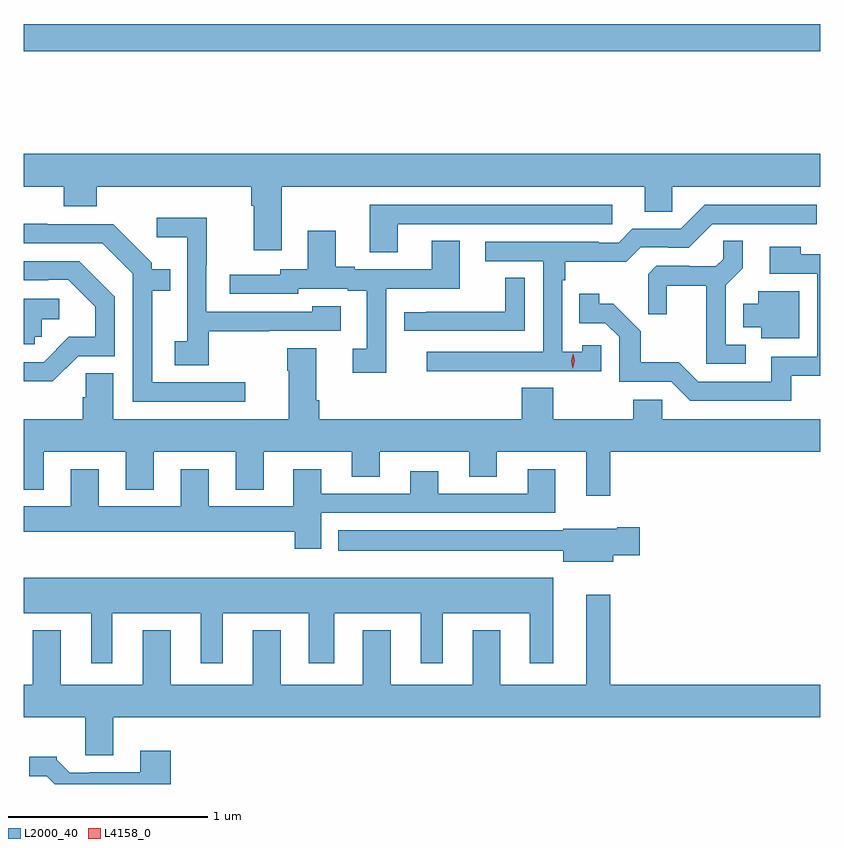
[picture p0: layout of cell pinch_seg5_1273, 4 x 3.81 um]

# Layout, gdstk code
import gdstk
lib = gdstk.Library(unit=1e-6, precision=1e-09)
def R(c, l, rs):  # rectangles x0, y0, x1, y1
    for r in rs: c.add(gdstk.rectangle(r[:2], r[2:], *l))
def P(c, l, *ps):  # polygons
    for p in ps: c.add(gdstk.Polygon(p, *l))
L2000_40 = (2000, 40)
L4158_0 = (4158, 0)

pinch_seg5_1273 = lib.new_cell('pinch_seg5_1273')
R(pinch_seg5_1273, L2000_40, [(395.845,861.436,399.845,861.572)])
P(pinch_seg5_1273, L2000_40, [(397.141,860.756),(398.963,860.756),(398.963,860.629),(399.102,860.629),(399.102,860.756),(399.845,860.756),(399.845,860.92),(395.845,860.92),(395.845,860.756),(396.047,860.756),(396.047,860.657),(396.212,860.657),(396.212,860.756),(396.989,860.756),(396.989,860.66),(397.001,860.66),(397.001,860.436),(397.141,860.436)],
  [(398.261,859.83),(398.745,859.83),(398.745,859.959),(398.649,859.959),(398.649,859.927),(398.55,859.927),(398.55,860.285),(398.563,860.285),(398.563,860.378),(398.87,860.378),(398.943,860.451),(399.082,860.451),(399.082,860.448),(399.183,860.448),(399.303,860.568),(399.826,860.568),(399.826,860.664),(399.264,860.664),(399.144,860.544),(398.901,860.544),(398.832,860.475),(398.732,860.475),(398.732,860.478),(398.163,860.478),(398.163,860.382),(398.454,860.382),(398.454,859.926),(397.869,859.926),(397.869,859.828),(398.261,859.828)],
  [(397.723,860.568),(398.8,860.568),(398.8,860.664),(397.583,860.664),(397.583,860.425),(397.723,860.425)],
  [(396.775,860.029),(397.079,860.029),(397.079,860.031),(397.438,860.031),(397.438,860.155),(397.293,860.155),(397.293,860.127),(396.762,860.127),(396.762,860.36),(396.765,860.36),(396.765,860.599),(396.513,860.599),(396.513,860.501),(396.666,860.501),(396.666,859.98),(396.603,859.98),(396.603,859.858),(396.775,859.858)],
  [(396.958,859.773),(396.49,859.773),(396.49,860.232),(396.581,860.232),(396.581,860.341),(396.489,860.341),(396.489,860.373),(396.294,860.568),(395.963,860.568),(395.963,860.57),(395.845,860.57),(395.845,860.472),(396.24,860.472),(396.393,860.319),(396.393,859.677),(396.958,859.677)],
  [(397.665,860.244),(398.035,860.244),(398.035,860.483),(397.895,860.483),(397.895,860.34),(397.507,860.34),(397.507,860.353),(397.411,860.353),(397.411,860.533),(397.271,860.533),(397.271,860.34),(397.134,860.34),(397.134,860.313),(396.879,860.313),(396.879,860.217),(397.224,860.217),(397.224,860.244),(397.472,860.244),(397.472,860.232),(397.568,860.232),(397.568,859.941),(397.497,859.941),(397.497,859.821),(397.665,859.821)],
  [(399.469,859.962),(399.369,859.962),(399.369,860.261),(399.455,860.347),(399.455,860.483),(399.357,860.483),(399.357,860.392),(399.32,860.355),(399.186,860.355),(399.186,860.358),(399.021,860.358),(398.98,860.317),(398.98,860.115),(399.074,860.115),(399.074,860.258),(399.272,860.258),(399.272,859.866),(399.469,859.866)],
  [(399.698,859.806),(399.845,859.806),(399.845,860.415),(399.747,860.415),(399.747,860.455),(399.591,860.455),(399.591,860.319),(399.828,860.319),(399.828,859.902),(399.599,859.902),(399.599,859.776),(399.231,859.776),(399.133,859.875),(398.944,859.875),(398.944,860.03),(398.806,860.168),(398.736,860.168),(398.736,860.218),(398.635,860.218),(398.635,860.07),(398.766,860.07),(398.835,860.001),(398.835,859.776),(399.096,859.776),(399.192,859.68),(399.698,859.68)],
  [(396.12,859.905),(396.303,859.905),(396.303,860.203),(396.124,860.382),(395.845,860.382),(395.845,860.286),(395.969,860.286),(395.969,860.289),(396.069,860.289),(396.206,860.152),(396.206,860.002),(396.073,860.002),(395.946,859.875),(395.845,859.875),(395.845,859.778),(395.992,859.778)],
  [(398.361,860.297),(398.263,860.297),(398.263,860.127),(397.867,860.127),(397.867,860.126),(397.755,860.126),(397.755,860.031),(398.361,860.031)],
  [(399.739,860.23),(399.533,860.23),(399.533,860.167),(399.458,860.167),(399.458,860.051),(399.548,860.051),(399.548,859.994),(399.739,859.994)],
  [(395.901,860.001),(395.937,860.001),(395.937,860.09),(396.025,860.09),(396.025,860.193),(395.845,860.193),(395.845,859.965),(395.901,859.965)],
  [(398.791,859.424),(399.845,859.424),(399.845,859.588),(399.051,859.588),(399.051,859.686),(398.905,859.686),(398.905,859.588),(398.505,859.588),(398.505,859.745),(398.345,859.745),(398.345,859.588),(397.328,859.588),(397.328,859.684),(397.315,859.684),(397.315,859.945),(397.168,859.945),(397.168,859.832),(397.175,859.832),(397.175,859.588),(396.295,859.588),(396.295,859.82),(396.157,859.82),(396.157,859.698),(396.143,859.698),(396.143,859.588),(395.845,859.588),(395.845,859.235),(395.947,859.235),(395.947,859.424),(396.359,859.424),(396.359,859.235),(396.499,859.235),(396.499,859.424),(396.911,859.424),(396.911,859.235),(397.051,859.235),(397.051,859.424),(397.493,859.424),(397.493,859.3),(397.633,859.3),(397.633,859.424),(398.081,859.424),(398.081,859.3),(398.221,859.3),(398.221,859.424),(398.669,859.424),(398.669,859.203),(398.791,859.203)],
  [(397.339,859.119),(398.515,859.119),(398.515,859.336),(398.375,859.336),(398.375,859.215),(397.927,859.215),(397.927,859.327),(397.787,859.327),(397.787,859.215),(397.339,859.215),(397.339,859.336),(397.199,859.336),(397.199,859.15),(396.775,859.15),(396.775,859.336),(396.635,859.336),(396.635,859.15),(396.223,859.15),(396.223,859.336),(396.083,859.336),(396.083,859.15),(395.845,859.15),(395.845,859.022),(397.205,859.022),(397.205,858.939),(397.339,858.939)],
  [(398.806,858.905),(398.938,858.905),(398.938,859.047),(398.825,859.047),(398.825,859.039),(398.553,859.039),(398.553,859.03),(397.424,859.03),(397.424,858.929),(398.553,858.929),(398.553,858.872),(398.806,858.872)],
  [(396.289,858.614),(396.734,858.614),(396.734,858.363),(396.844,858.363),(396.844,858.614),(397.277,858.614),(397.277,858.363),(397.405,858.363),(397.405,858.614),(397.838,858.614),(397.838,858.363),(397.948,858.363),(397.948,858.614),(398.387,858.614),(398.387,858.363),(398.503,858.363),(398.503,858.793),(395.845,858.793),(395.845,858.614),(396.185,858.614),(396.185,858.363),(396.289,858.363)],
  [(396.295,858.092),(399.845,858.092),(399.845,858.256),(398.791,858.256),(398.791,858.706),(398.669,858.706),(398.669,858.256),(398.239,858.256),(398.239,858.529),(398.099,858.529),(398.099,858.256),(397.687,858.256),(397.687,858.529),(397.547,858.529),(397.547,858.256),(397.135,858.256),(397.135,858.529),(396.995,858.529),(396.995,858.256),(396.583,858.256),(396.583,858.529),(396.443,858.529),(396.443,858.256),(396.031,858.256),(396.031,858.529),(395.891,858.529),(395.891,858.256),(395.845,858.256),(395.845,858.092),(396.155,858.092),(396.155,857.902),(396.295,857.902)],
  [(396.584,857.923),(396.431,857.923),(396.431,857.817),(396.175,857.817),(396.175,857.814),(396.076,857.814),(396.012,857.878),(396.012,857.893),(395.873,857.893),(395.873,857.796),(395.961,857.796),(396.001,857.757),(396.584,857.757)])
P(pinch_seg5_1273, L4158_0, [(398.601,859.845),(398.593,859.882),(398.604,859.917),(398.604,859.917),(398.604,859.917),(398.613,859.881),(398.602,859.845),(398.602,859.845)])

lib.write_gds('pinch_seg5_1273.gds')
